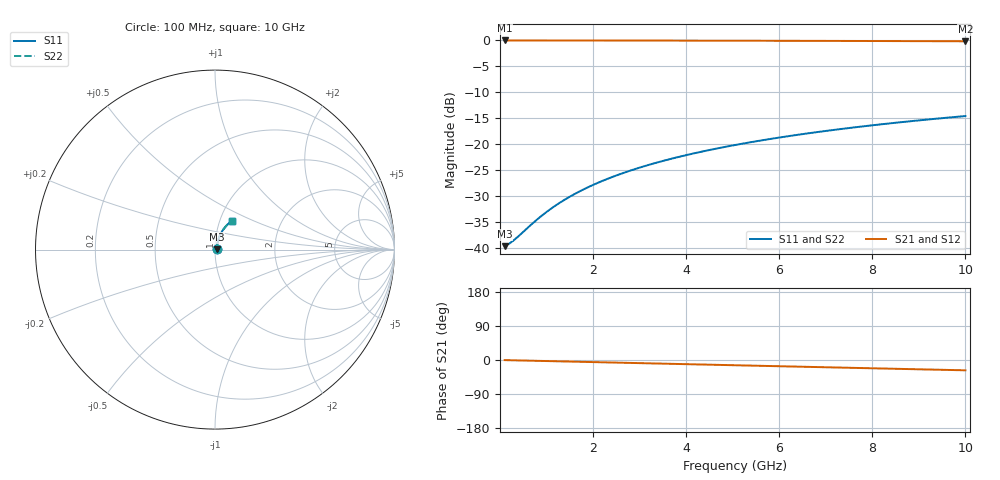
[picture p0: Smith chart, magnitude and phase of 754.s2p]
# Hz S RI R 50.00
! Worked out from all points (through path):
!   100 points, 100 MHz to 10 GHz, reference 50 ohm
!   highest |S21| = -0.09 dB at 100 MHz (marker M1); lowest = -0.2 dB at 10 GHz (marker M2)
!   group delay of S21, straight-line fit = 7.57 ps
!   lowest |S11| = -39.7 dB at 100 MHz (marker M3), VSWR 1.02, Z = 51 + j0.193 ohm
!   |S11| at or under -10 dB: start of sweep to end of sweep
!   |S22| runs from -39.7 to -14.7 dB; largest |S21 - S12| = 0
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1e8  0.0102 0.00189  0.9898 -0.00475  0.9898 -0.00475  0.0102 0.00189
2e8  0.0102 0.00379  0.9897 -0.0095  0.9897 -0.0095  0.0102 0.00379
3e8  0.0103 0.00568  0.9896 -0.0143  0.9896 -0.0143  0.0103 0.00568
8e8  0.011 0.0151  0.9887 -0.038  0.9887 -0.038  0.011 0.0151
9e8  0.0112 0.017  0.9885 -0.0427  0.9885 -0.0427  0.0112 0.017
1.1e9  0.0116 0.0208  0.9879 -0.0522  0.9879 -0.0522  0.0116 0.0208
1.4e9  0.0123 0.0264  0.9869 -0.0664  0.9869 -0.0664  0.0123 0.0264
1.6e9  0.0129 0.0301  0.986 -0.0759  0.986 -0.0759  0.0129 0.0301
1.8e9  0.0135 0.0338  0.9851 -0.0853  0.9851 -0.0853  0.0135 0.0338
2.1e9  0.0146 0.0394  0.9835 -0.0994  0.9835 -0.0994  0.0146 0.0394
2.5e9  0.0163 0.0468  0.981 -0.1182  0.981 -0.1182  0.0163 0.0468
2.9e9  0.0183 0.054  0.9782 -0.1369  0.9782 -0.1369  0.0183 0.054
3.4e9  0.0212 0.063  0.974 -0.1602  0.974 -0.1602  0.0212 0.063
3.8e9  0.0238 0.0701  0.9702 -0.1787  0.9702 -0.1787  0.0238 0.0701
4.2e9  0.0266 0.077  0.966 -0.197  0.966 -0.197  0.0266 0.077
4.6e9  0.0297 0.0839  0.9614 -0.2153  0.9614 -0.2153  0.0297 0.0839
5.1e9  0.034 0.0922  0.9551 -0.2379  0.9551 -0.2379  0.034 0.0922
5.9e9  0.0416 0.1051  0.9439 -0.2736  0.9439 -0.2736  0.0416 0.1051
6.7e9  0.0502 0.1173  0.9311 -0.3086  0.9311 -0.3086  0.0502 0.1173
7.5e9  0.0596 0.1288  0.9169 -0.3429  0.9169 -0.3429  0.0596 0.1288
8.4e9  0.0711 0.1408  0.8994 -0.3805  0.8994 -0.3805  0.0711 0.1408
1e10  0.0939 0.1595  0.8642 -0.4445  0.8642 -0.4445  0.0939 0.1595
